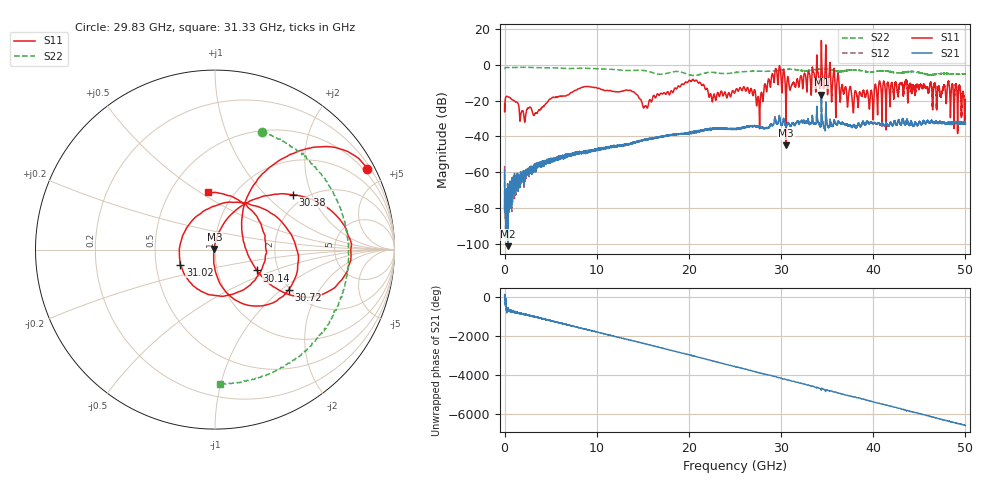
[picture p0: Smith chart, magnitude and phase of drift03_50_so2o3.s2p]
!Created with skrf (http://scikit-rf.org).
# Hz S RI R 50.0
!freq ReS11 ImS11 ReS21 ImS21 ReS12 ImS12 ReS22 ImS22
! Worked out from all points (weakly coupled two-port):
!   10001 points, 300 kHz to 50 GHz, reference 50 ohm
!   highest |S21| = -16.73 dB at 34.37 GHz (marker M1); lowest = -101.4 dB at 365.3 MHz (marker M2)
!   lowest |S11| = -45.1 dB at 30.53 GHz (marker M3), VSWR 1.01, Z = 49.6 + j0.416 ohm
!   |S11| at or under -10 dB: start of sweep to 19.55 GHz; 21.25 GHz to 28.55 GHz (7.298 GHz wide, 29.3 % of centre); 36.28 GHz to 40.62 GHz (4.338 GHz wide, 11.3 % of centre) (the widest 3 of 39)
!   |S22| runs from -5.9 to -1.3 dB; largest |S21 - S12| = 0.026
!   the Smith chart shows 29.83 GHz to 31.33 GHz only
!   S11 on the Smith chart (normalised r, x): 29.83 GHz: 0.39, +4.00; 30.14 GHz: 1.55, -0.39; 30.38 GHz: 1.74, +1.48; 30.72 GHz: 1.97, -1.12; 31.02 GHz: 0.67, -0.12; 31.33 GHz: 0.76, +0.54
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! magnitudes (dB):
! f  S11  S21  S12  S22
! 300 kHz  -21.8  -58.9  -56.5  -2.0
! 365.3 MHz  -17.9  -101.4  -67.2  -1.4
! 3.3 GHz  -27.3  -57.4  -58.4  -1.5
! 8.335 GHz  -12.6  -49.0  -49.2  -1.9
! 15.28 GHz  -22.8  -41.8  -41.8  -3.3
! 16.67 GHz  -16.5  -40.5  -40.5  -5.2
! 20.26 GHz  -9.2  -38.3  -38.3  -5.8
! 22.71 GHz  -16.5  -35.8  -36.0  -4.2
! 25 GHz  -15.2  -35.7  -35.9  -4.3
! 27.53 GHz  -17.8  -34.5  -34.6  -3.5
! 29.83 GHz  -0.4  -29.2  -28.5  -3.0
! 30.14 GHz  -11.7  -33.4  -33.6  -2.8
! 30.38 GHz  -5.5  -32.0  -32.4  -2.6
! 30.53 GHz  -45.1  -34.1  -34.1  -2.5
! 30.72 GHz  -6.6  -32.8  -32.7  -2.5
! 31.02 GHz  -13.6  -34.3  -34.3  -2.4
! 31.33 GHz  -9.8  -32.6  -32.6  -2.5
! 33.34 GHz  -7.3  -31.3  -31.1  -2.9
! 34.37 GHz  13.7  -16.7  -18.1  -2.3
! 37.86 GHz  -26.3  -33.7  -34.3  -2.9
! 41.67 GHz  -11.5  -34.0  -34.1  -3.6
! 50 GHz  -19.3  -33.0  -32.8  -5.0
